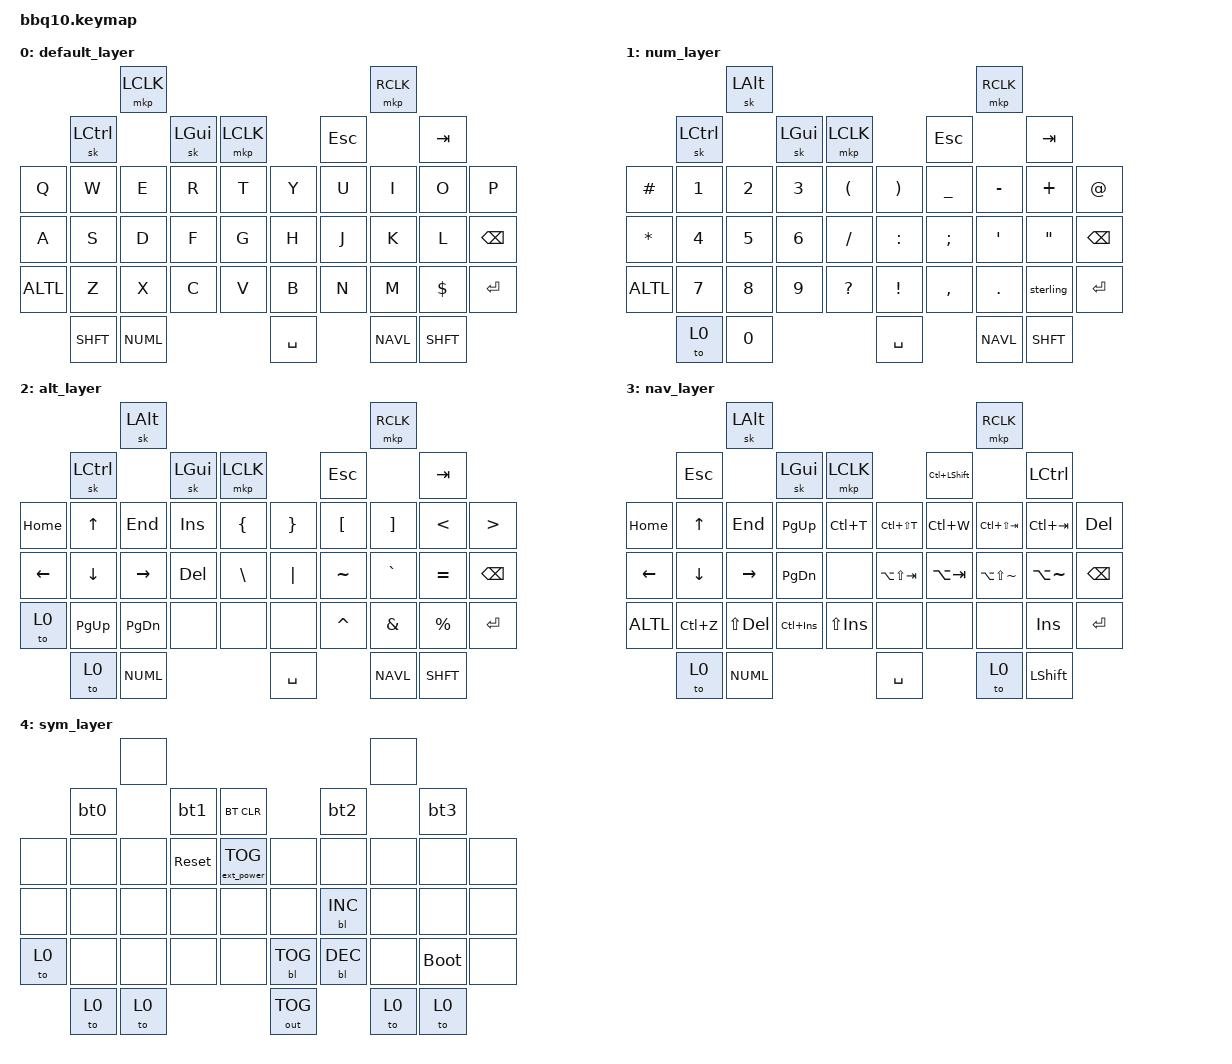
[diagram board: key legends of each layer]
 /*
 * Copyright (c) 2023 ZitaoTech
 * SPDX-License-Identifier: MIT
 * 
 * Derived from:
 * https://github.com/ZitaoTech/zmk_config_Q10/blob/main/config/bbq10.keymap
 * https://github.com/Drexel-Macintosh/BlueBerry_Q10/blob/main/config/bbq10.keymap
 * https://github.com/moni11811/zmk-config_9900/blob/main/config/bb9900.keymap
 */
#include <behaviors.dtsi>
#include <dt-bindings/zmk/keys.h>
#include <dt-bindings/zmk/bt.h>
#include <dt-bindings/zmk/outputs.h>
#include <dt-bindings/zmk/mouse.h>
#include <dt-bindings/zmk/backlight.h>
#include <dt-bindings/zmk/ext_power.h>
 
#define NUM 1
#define ALT 2
#define NAV 3
#define SYM 4


// Standard Behavior Configuration:
&mt {
    flavor = "tap-preferred";
    tapping-term-ms = <200>;
};
&sk{
    release-after-ms = <2500>;
};
&sl {
    release-after-ms = <2500>;
};


/ {
    combos {
        compatible = "zmk,combos";

        // combo to enter the SYM layer for BT settings, press Mic and Sym together
        // 0..41 keys, Mic is 38 and Sym is 40
        combo_sym {
            timeout-ms = <50>;
            key-positions = <38 40>;
            bindings = <&to SYM>;
            require-prior-idle-ms = <500>;
        };
    };
    

    behaviors {
        SHFT: tap_dance_1 {
            compatible = "zmk,behavior-tap-dance";
            #binding-cells = <0>;
            tapping-term-ms = <500>;
            bindings = <&sk LSHFT>, <&kp CLCK>;
        };

        NUML: tap_dance_numl {
            compatible = "zmk,behavior-tap-dance";
            #binding-cells = <0>;
            tapping-term-ms = <500>;
            bindings = <&sl NUM>, <&to NUM>;
        };

        ALTL: tap_dance_altl {
            compatible = "zmk,behavior-tap-dance";
            #binding-cells = <0>;
            tapping-term-ms = <400>;
            bindings = <&sl ALT>, <&to ALT>;
        };

        NAVL: tap_dance_navl {
            compatible = "zmk,behavior-tap-dance";
            #binding-cells = <0>;
            tapping-term-ms = <400>;
            bindings = <&sl NAV>, <&to NAV>;
        };

        hm: homerow_mods {
            compatible = "zmk,behavior-hold-tap";
            #binding-cells = <2>;
            tapping-term-ms = <500>;
            bindings = <&out &kp>;
        };
    };
    

    macros {
        // Pound Sterling (£) sign for Linux: ctrl+shift+u a 3 [enter]
        sterling: sterling {
            compatible = "zmk,behavior-macro";
            #binding-cells = <0>;
            bindings
                = <&macro_press &kp LCTRL>
                , <&macro_press &kp LSHFT>
                , <&macro_tap &kp U>
                , <&macro_release &kp LSHFT>
                , <&macro_release &kp LCTRL>
                , <&macro_tap &kp A &kp N3 &kp ENTER> 
                ;
        };

        
        // Bluetooth macros to enable only one active BT pairing and turn off the rest
        bt0: bt0 {
            compatible = "zmk,behavior-macro";
            #binding-cells = <0>;
            bindings = <&bt BT_SEL 0 &bt BT_DISC 1 &bt BT_DISC 2 &bt BT_DISC 3 &bt BT_DISC 4>;
        };
        bt1: bt1 {
            compatible = "zmk,behavior-macro";
            #binding-cells = <0>;
            bindings = <&bt BT_SEL 1 &bt BT_DISC 0 &bt BT_DISC 2 &bt BT_DISC 3 &bt BT_DISC 4>;
        };
        bt2: bt2 {
            compatible = "zmk,behavior-macro";
            #binding-cells = <0>;
            bindings = <&bt BT_SEL 2 &bt BT_DISC 0 &bt BT_DISC 1 &bt BT_DISC 3 &bt BT_DISC 4>;
        };
        bt3: bt3 {
            compatible = "zmk,behavior-macro";
            #binding-cells = <0>;
            bindings = <&bt BT_SEL 3 &bt BT_DISC 0 &bt BT_DISC 1 &bt BT_DISC 2 &bt BT_DISC 4>;
        };
    };


    keymap {
        compatible = "zmk,keymap";
        default_layer {
            bindings = <

        /*
         *    KEYBOARD LAYOUT - ASCII by KyleBing
         *
                              ---------------------                                                                -------------------------
                             |    Shoulder Key1    |                                                              |      Shoulder Key2      |
                 ---------------------------------------------------------------------------------------------------------------------------------------------------
                |        Call key        |   Blackberry Key    |              Trackpad            |             Back Key           |          Endcall Key           |
                -----------------------------------------------------------------------------------------------------------------------------------------------------
                |     Q      |     W     |     E    |     R    |         T       |       Y        |        U       |       I       |        O        |      P       |
                -----------------------------------------------------------------------------------------------------------------------------------------------------
                |     A      |     S     |     D    |     F    |         G       |       H        |        J       |       K       |        L        |  Backspace   |
                -----------------------------------------------------------------------------------------------------------------------------------------------------
                 \    alt    |     Z     |     X    |     C    |         V       |       B        |        N       |       M       |        $        |    Enter    /
                   -----------------------------------------------------------------------------------------------------------------------------------------------
                              \      aA        |       0        |                    SPACE                  |          SYM          |         aA    /
                                -------------------------------------------------------------------------------------------------------------------
        */
                                        &mkp LCLK                                                       &mkp RCLK
		                    &sk  LCTRL          &sk LGUI            &mkp LCLK               &kp ESC             &kp TAB

                &kp Q       &kp W       &kp E       &kp R       &kp T       &kp Y       &kp U       &kp I       &kp O       &kp P
                &kp A       &kp S       &kp D       &kp F       &kp G       &kp H       &kp J       &kp K       &kp L       &kp BSPC
                &ALTL       &kp Z       &kp X       &kp C       &kp V       &kp B       &kp N       &kp M       &kp DLLR    &kp RET

                            &SHFT       &NUML                          &kp SPACE                    &NAVL       &SHFT

            >;
        };
        

        num_layer {
            bindings = <        
                                        &sk LALT                                                       &mkp RCLK
		                    &sk  LCTRL          &sk LGUI            &mkp LCLK              &kp ESC              &kp TAB

                &kp HASH    &kp N1      &kp N2      &kp N3      &kp LPAR    &kp RPAR    &kp UNDER   &kp MINUS   &kp PLUS    &kp AT
                &kp STAR    &kp N4      &kp N5      &kp N6      &kp SLASH   &kp COLON   &kp SEMI    &kp APOS    &kp DQT     &kp BSPC
                &ALTL       &kp N7      &kp N8      &kp N9      &kp QMARK   &kp EXCL    &kp COMMA   &kp DOT     &sterling   &kp RET

                            &to 0       &kp N0                         &kp SPACE                    &NAVL       &SHFT

            >;
        };

        
        alt_layer {
            bindings = <
                                        &sk LALT                                                        &mkp RCLK
		                    &sk  LCTRL          &sk LGUI            &mkp LCLK               &kp ESC             &kp TAB

                &kp HOME    &kp UP      &kp END     &kp INS     &kp LBRC    &kp RBRC    &kp LBKT    &kp RBKT    &kp LT      &kp GT       
                &kp LEFT    &kp DOWN    &kp RIGHT   &kp DEL     &kp BSLH    &kp PIPE    &kp TILDE   &kp GRAVE   &kp EQUAL   &kp BSPC
                &to 0       &kp PG_UP   &kp PG_DN   &none       &none       &none       &kp CARET   &kp AMPS    &kp PRCNT   &kp RET

                            &to 0       &NUML                          &kp SPACE                    &NAVL       &SHFT
            >;
        };

        
        nav_layer {
            bindings = <
                                        &sk LALT                                                        &mkp RCLK
                            &kp ESC             &sk LGUI            &mkp LCLK               &kp LC(LSHFT)       &kp LCTRL

                &kp HOME   &kp UP      &kp END       &kp PG_UP     &kp LC(T)     &kp LC(LS(T))     &kp LC(W)     &kp LC(LS(TAB))     &kp LC(TAB)     &kp DEL
                &kp LEFT   &kp DOWN    &kp RIGHT     &kp PG_DN     &none         &kp LA(LS(TAB))   &kp LA(TAB)   &kp LA(LS(TILDE))   &kp LA(TILDE)   &kp BSPC
                &ALTL      &kp LC(Z)   &kp LS(DEL)   &kp LC(INS)   &kp LS(INS)   &none             &none         &none               &kp INS         &kp RET

                            &to 0       &NUML                          &kp SPACE                    &to 0       &kp LEFT_SHIFT
            >;
        };
        

        sym_layer {
            bindings = <        
                                    &none                                                               &none
        		            &bt0            &bt1                    &bt BT_CLR              &bt2                &bt3

                &none   &none   &none   &sys_reset   &ext_power EP_TOG   &none        &none        &none        &none         &none
                &none   &none   &none   &none        &none               &none        &bl BL_INC   &none        &none         &none
                &to 0   &none   &none   &none        &none               &bl BL_TOG   &bl BL_DEC   &none        &bootloader   &none

                            &to 0       &to 0                           &out OUT_TOG                &to 0       &to 0
            >;
        };

    };
};
